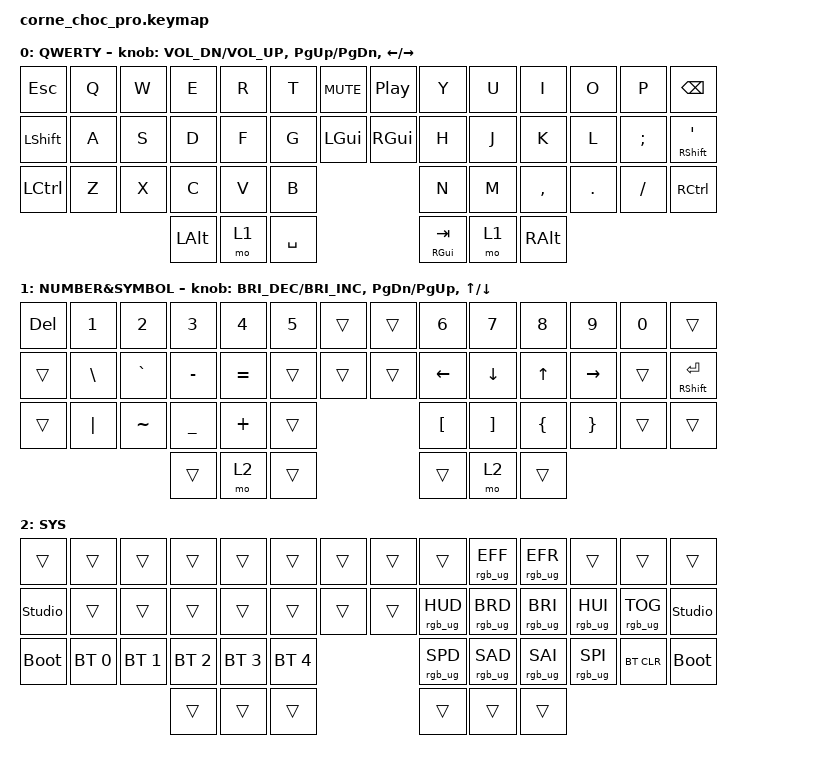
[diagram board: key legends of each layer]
/*
 * Copyright (c) 2020 The ZMK Contributors
 *
 * SPDX-License-Identifier: MIT
 */

#include <behaviors.dtsi>
#include <dt-bindings/zmk/bt.h>
#include <dt-bindings/zmk/keys.h>
#include <dt-bindings/zmk/rgb.h>

/ {
    chosen { zmk,physical-layout = &default_layout; };
};

/ {
    behaviors {
        mod_tap: mod_tap {
            compatible = "zmk,behavior-hold-tap";
            label = "MOD_TAP";
            #binding-cells = <2>;
            bindings = <&kp>, <&kp>;

            tapping-term-ms = <110>;
            flavor = "balanced";
            quick-tap-ms = <80>;
            hold-while-undecided;
        };
    };

    combos {
        compatible = "zmk,combos";

        LCTRL_CH_LSHIFT_TAB {
            bindings = <&kp LCTRL>;
            key-positions = <28 14>;
        };

        RCTRL_CH_RSHIFT_APOS {
            bindings = <&kp RCTRL>;
            key-positions = <27 39>;
        };
    };

    keymap {
        compatible = "zmk,keymap";

        primary {
            display-name = "QWERTY";

            // --------------------------------------------------------------------------------
            // |  TAB |  Q  |  W  |  E  |  R  |  T  |  MUTE |  PP   |  Y  |  U   |  I  |  O  |  P  | BSPC |
            // | CTRL |  A  |  S  |  D  |  F  |  G  |  LALT |  RALT |  H  |  J   |  K  |  L  |  ;  |  '   |
            // | SHFT |  Z  |  X  |  C  |  V  |  B  |               |  N  |  M   |  ,  |  .  |  /  | ESC  |
            //                    | GUI | LWR | SPC |               | ENT | RSE  | ALT |

            bindings = <
&kp ESCAPE  &kp Q  &kp W  &kp E         &kp R  &kp T      &kp C_MUTE    &kp C_PP       &kp Y                   &kp U  &kp I      &kp O    &kp P     &kp BSPC
&kp LSHFT   &kp A  &kp S  &kp D         &kp F  &kp G      &kp LEFT_GUI  &kp RIGHT_GUI  &kp H                   &kp J  &kp K      &kp L    &kp SEMI  &mod_tap RSHFT APOS
&kp LCTRL   &kp Z  &kp X  &kp C         &kp V  &kp B                                   &kp N                   &kp M  &kp COMMA  &kp DOT  &kp FSLH  &kp RCTRL
                          &kp LEFT_ALT  &mo 1  &kp SPACE                               &mod_tap RIGHT_GUI TAB  &mo 1  &kp RALT
            >;

            sensor-bindings =
                <&inc_dec_kp C_VOL_DN C_VOL_UP>,
                <&inc_dec_kp PG_UP PG_DN>,
                <&inc_dec_kp LEFT RIGHT>;
        };

        lower_layer {
            display-name = "NUMBER&SYMBOL";

            // -----------------------------------------------------------------------------------------
            // |  TAB |  1  |  2  |  3  |  4  |  5    |  LCTRL | RCTRL |  6  |  7  |  8  |  9  |  0  | BSPC |
            // | CTRL | BT1 | BT2 | BT3 | BT4 | BT5   |  LALT  | RALT  | LFT | DWN |  UP | RGT |     |      |
            // | SHFT | BTCR| RGB | RST | BOOT| Unlock|        |       |     |     |     |     |     |      |
            //                    | GUI |     | SPC   |        | ENT   |     | ALT |

            bindings = <
&kp DELETE  &kp N1         &kp N2     &kp N3     &kp N4     &kp N5  &trans  &trans  &kp N6            &kp N7             &kp N8          &kp N9           &kp N0  &trans
&trans      &kp BACKSLASH  &kp GRAVE  &kp MINUS  &kp EQUAL  &trans  &trans  &trans  &kp LEFT          &kp DOWN           &kp UP          &kp RIGHT        &trans  &mod_tap RIGHT_SHIFT ENTER
&trans      &kp PIPE       &kp TILDE  &kp UNDER  &kp PLUS   &trans                  &kp LEFT_BRACKET  &kp RIGHT_BRACKET  &kp LEFT_BRACE  &kp RIGHT_BRACE  &trans  &trans
                                      &trans     &mo 2      &trans                  &trans            &mo 2              &trans
            >;

            sensor-bindings =
                <&inc_dec_kp C_BRI_DEC C_BRI_INC>,
                <&inc_dec_kp PAGE_DOWN PAGE_UP>,
                <&inc_dec_kp UP_ARROW DOWN>;
        };

        system {
            display-name = "SYS";
            bindings = <
&trans          &trans        &trans        &trans        &trans        &trans        &trans  &trans  &trans           &rgb_ug RGB_EFF  &rgb_ug RGB_EFR  &trans           &trans           &trans
&studio_unlock  &trans        &trans        &trans        &trans        &trans        &trans  &trans  &rgb_ug RGB_HUD  &rgb_ug RGB_BRD  &rgb_ug RGB_BRI  &rgb_ug RGB_HUI  &rgb_ug RGB_TOG  &studio_unlock
&bootloader     &bt BT_SEL 0  &bt BT_SEL 1  &bt BT_SEL 2  &bt BT_SEL 3  &bt BT_SEL 4                  &rgb_ug RGB_SPD  &rgb_ug RGB_SAD  &rgb_ug RGB_SAI  &rgb_ug RGB_SPI  &bt BT_CLR       &bootloader
                                            &trans        &trans        &trans                        &trans           &trans           &trans
            >;
        };
    };
};
